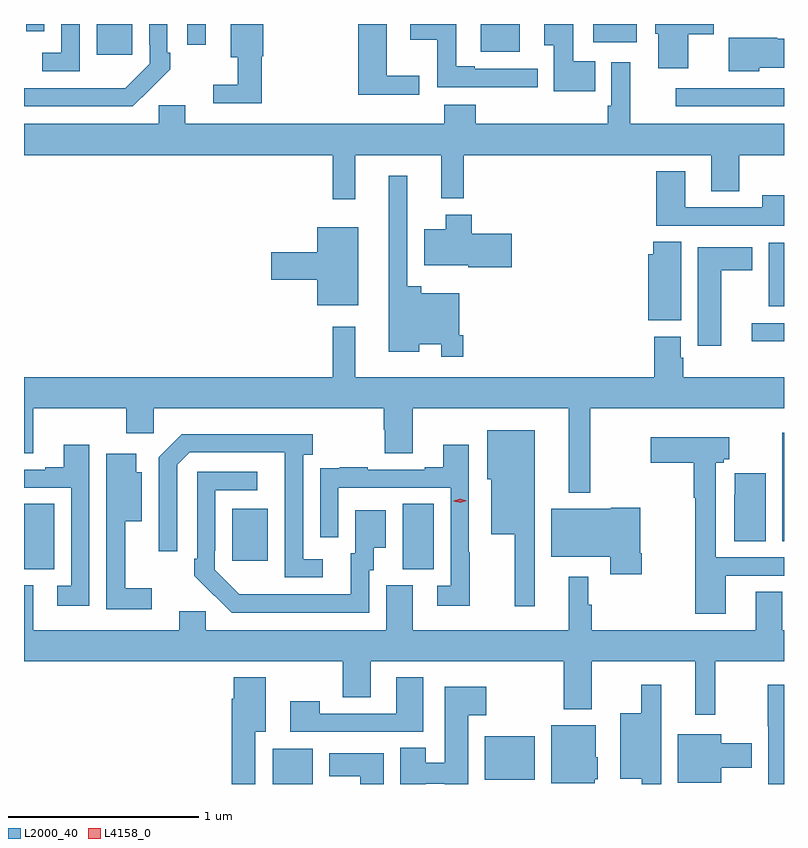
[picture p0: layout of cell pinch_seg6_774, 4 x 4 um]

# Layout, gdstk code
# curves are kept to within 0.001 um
import gdstk
lib = gdstk.Library(unit=1e-6, precision=1e-09)
def R(c, l, rs):  # rectangles x0, y0, x1, y1
    for r in rs: c.add(gdstk.rectangle(r[:2], r[2:], *l))
def P(c, l, *ps):  # polygons
    for p in ps: c.add(gdstk.Polygon(p, *l))
L2000_40 = (2000, 40)
L4158_0 = (4158, 0)

pinch_seg6_774 = lib.new_cell('pinch_seg6_774')
R(pinch_seg6_774, L2000_40, [(149.36,981.322,149.572,981.508), (150.476,981.344,150.739,981.574), (148.051,982.453,148.21,982.796), (150.044,982.453,150.208,982.796), (149.147,982.497,149.335,982.771), (152.042,982.6,152.051,983.17), (151.881,983.651,152.051,983.748), (151.97,983.837,152.051,984.172), (151.482,984.888,152.051,984.984), (148.433,985.161,148.621,985.322), (150.455,985.175,150.661,985.322), (148.911,985.212,149.007,985.322), (151.046,985.226,151.276,985.322), (148.062,985.284,148.158,985.322)])
P(pinch_seg6_774, L2000_40, [(151.058,985.126),(150.943,985.126),(150.943,985.322),(150.789,985.322),(150.789,985.21),(150.839,985.21),(150.839,984.968),(151.058,984.968)],
  [(148.344,985.322),(148.248,985.322),(148.248,985.17),(148.146,985.17),(148.146,985.074),(148.344,985.074)],
  [(151.546,985.268),(151.681,985.268),(151.681,985.322),(151.373,985.322),(151.373,985.272),(151.388,985.272),(151.388,985.089),(151.546,985.089)],
  [(150.13,985.049),(149.959,985.049),(149.959,985.322),(149.81,985.322),(149.81,984.95),(150.13,984.95)],
  [(149.303,985.152),(149.309,985.152),(149.309,985.322),(149.138,985.322),(149.138,985.148),(149.175,985.148),(149.175,985.003),(149.046,985.003),(149.046,984.906),(149.303,984.906)],
  [(148.715,984.979),(148.716,984.978),(148.821,985.083),(148.821,985.171),(148.806,985.171),(148.806,985.322),(148.71,985.322),(148.71,985.213),(148.713,985.213),(148.713,985.113),(148.585,984.985),(148.051,984.984),(148.051,984.888),(148.624,984.888)],
  [(150.754,985.086),(150.424,985.086),(150.424,985.099),(150.327,985.099),(150.327,985.322),(150.084,985.322),(150.084,985.238),(150.226,985.238),(150.226,984.99),(150.511,984.99),(150.511,984.989),(150.754,984.989)],
  [(151.92,985.091),(152.051,985.091),(152.051,985.245),(152.015,985.245),(152.015,985.249),(151.76,985.249),(151.76,985.073),(151.92,985.073)],
  [(149.795,984.632),(150.248,984.632),(150.248,984.404),(150.365,984.404),(150.365,984.632),(151.667,984.632),(151.667,984.442),(151.815,984.442),(151.815,984.632),(152.051,984.632),(152.051,984.796),(151.242,984.796),(151.242,985.12),(151.143,985.12),(151.143,984.892),(151.123,984.892),(151.123,984.796),(150.428,984.796),(150.428,984.898),(150.263,984.898),(150.263,984.796),(148.9,984.796),(148.9,984.894),(148.761,984.894),(148.761,984.796),(148.051,984.796),(148.051,984.632),(149.677,984.632),(149.677,984.399),(149.795,984.399)],
  [(152.051,984.421),(151.936,984.421),(151.936,984.357),(151.531,984.357),(151.531,984.547),(151.379,984.547),(151.379,984.261),(152.051,984.261)],
  [(150.362,983.683),(150.342,983.683),(150.342,983.905),(150.143,983.905),(150.143,983.941),(150.069,983.941),(150.069,984.523),(149.972,984.523),(149.972,983.597),(150.13,983.597),(150.13,983.636),(150.246,983.636),(150.246,983.571),(150.362,983.571)],
  [(150.619,984.219),(150.407,984.219),(150.407,984.319),(150.272,984.319),(150.272,984.241),(150.158,984.241),(150.158,984.053),(150.39,984.053),(150.39,984.041),(150.619,984.041)],
  [(149.809,984.253),(149.594,984.253),(149.594,984.122),(149.352,984.122),(149.352,983.975),(149.594,983.975),(149.594,983.843),(149.809,983.843)],
  [(151.51,984.176),(151.364,984.176),(151.364,984.109),(151.337,984.109),(151.337,983.762),(151.51,983.762)],
  [(151.72,984.026),(151.885,984.026),(151.885,984.148),(151.598,984.148),(151.598,983.628),(151.72,983.628)],
  [(151.031,983.3),(152.051,983.3),(152.051,983.464),(151.52,983.464),(151.52,983.565),(151.507,983.565),(151.507,983.677),(151.367,983.677),(151.367,983.464),(149.794,983.464),(149.794,983.728),(149.677,983.728),(149.677,983.464),(148.051,983.464),(148.051,983.062),(148.099,983.062),(148.099,983.3),(148.588,983.3),(148.588,983.169),(148.734,983.169),(148.734,983.3),(149.945,983.3),(149.945,983.187),(149.95,983.187),(149.95,983.062),(150.097,983.062),(150.097,983.3),(150.917,983.3),(150.917,982.856),(151.031,982.856)],
  [(150.739,983.185),(150.488,983.185),(150.488,982.926),(150.509,982.926),(150.509,982.637),(150.635,982.637),(150.635,982.257),(150.739,982.257)],
  [(149.623,982.506),(149.52,982.506),(149.52,983.054),(149.572,983.054),(149.572,983.164),(148.882,983.164),(148.761,983.043),(148.761,982.548),(148.857,982.548),(148.857,983.001),(148.923,983.067),(149.423,983.067),(149.424,982.41),(149.623,982.41)],
  [(151.744,982.419),(152.051,982.419),(152.051,982.515),(151.692,982.515),(151.692,983.012),(151.734,983.012),(151.734,983.032),(151.763,983.032),(151.763,983.146),(151.35,983.146),(151.35,983.012),(151.576,983.012),(151.576,982.828),(151.584,982.828),(151.584,982.218),(151.744,982.218)],
  [(148.395,983.107),(148.259,983.107),(148.259,982.99),(148.163,982.99),(148.163,982.977),(148.051,982.977),(148.051,982.881),(148.299,982.881),(148.299,982.365),(148.227,982.365),(148.227,982.26),(148.395,982.26)],
  [(150.396,982.541),(150.393,982.541),(150.393,983.107),(150.257,983.107),(150.257,982.99),(150.161,982.99),(150.161,982.977),(149.861,982.977),(149.861,982.99),(149.713,982.99),(149.713,982.983),(149.611,982.983),(149.611,982.874),(149.61,982.874),(149.61,982.62),(149.706,982.62),(149.706,982.881),(150.297,982.881),(150.297,982.365),(150.225,982.365),(150.225,982.26),(150.396,982.26)],
  [(148.723,982.351),(148.583,982.351),(148.583,982.706),(148.672,982.706),(148.672,982.963),(148.642,982.963),(148.642,983.059),(148.484,983.059),(148.484,982.81),(148.485,982.81),(148.485,982.242),(148.723,982.242)],
  [(149.868,982.446),(149.893,982.446),(149.893,982.565),(149.956,982.565),(149.956,982.762),(149.795,982.762),(149.795,982.536),(149.771,982.536),(149.771,982.32),(149.184,982.321),(149.055,982.449),(149.055,982.549),(149.058,982.549),(149.058,982.869),(149.278,982.869),(149.278,982.965),(148.962,982.965),(148.962,982.507),(148.947,982.507),(148.947,982.419),(149.144,982.224),(149.868,982.224)],
  [(151.954,982.957),(151.793,982.957),(151.793,982.844),(151.79,982.844),(151.79,982.6),(151.954,982.6)],
  [(151.302,982.537),(151.294,982.537),(151.294,982.777),(151.14,982.777),(151.14,982.771),(150.827,982.771),(150.827,982.517),(151.136,982.517),(151.136,982.425),(151.302,982.425)],
  [(151.69,981.968),(152.051,981.968),(152.051,982.132),(152.041,982.132),(152.041,982.334),(151.901,982.334),(151.901,982.132),(151.039,982.132),(151.039,982.265),(151.021,982.265),(151.021,982.414),(150.917,982.414),(150.917,982.132),(150.097,982.132),(150.097,982.368),(149.957,982.368),(149.957,982.132),(149.007,982.132),(149.007,982.23),(148.868,982.23),(148.868,982.132),(148.099,982.132),(148.099,982.368),(148.051,982.368),(148.051,981.968),(149.728,981.968),(149.728,981.778),(149.875,981.778),(149.875,981.968),(150.892,981.968),(150.892,981.716),(151.039,981.716),(151.039,981.968),(151.583,981.968),(151.583,981.687),(151.69,981.687)],
  [(149.269,981.596),(149.323,981.596),(149.323,981.883),(149.156,981.883),(149.156,981.77),(149.144,981.77),(149.144,981.322),(149.269,981.322)],
  [(150.151,981.883),(150.011,981.883),(150.011,981.693),(149.607,981.693),(149.607,981.757),(149.451,981.757),(149.451,981.597),(150.151,981.597)],
  [(152.051,981.844),(151.965,981.844),(151.965,981.625),(151.967,981.625),(151.967,981.322),(152.051,981.322)],
  [(151.405,981.844),(151.299,981.844),(151.299,981.694),(151.19,981.694),(151.19,981.35),(151.301,981.35),(151.301,981.322),(151.405,981.322)],
  [(150.166,981.324),(150.266,981.324),(150.266,981.322),(150.388,981.322),(150.388,981.683),(150.484,981.683),(150.484,981.835),(150.266,981.835),(150.266,981.433),(150.166,981.433),(150.166,981.512),(150.032,981.512),(150.032,981.322),(150.166,981.322)],
  [(151.056,981.348),(151.072,981.348),(151.072,981.462),(151.06,981.462),(151.06,981.631),(150.827,981.631),(150.827,981.326),(151.056,981.326)],
  [(151.72,981.407),(151.882,981.407),(151.882,981.537),(151.72,981.537),(151.72,981.583),(151.493,981.583),(151.493,981.329),(151.72,981.329)],
  [(149.944,981.484),(149.657,981.484),(149.657,981.362),(149.822,981.362),(149.822,981.322),(149.944,981.322)])
P(pinch_seg6_774, L4158_0, [(150.346,982.803),(150.312,982.811),(150.312,982.811),(150.312,982.812),(150.346,982.823),(150.38,982.814),(150.381,982.814),(150.38,982.814)])

lib.write_gds('pinch_seg6_774.gds')
